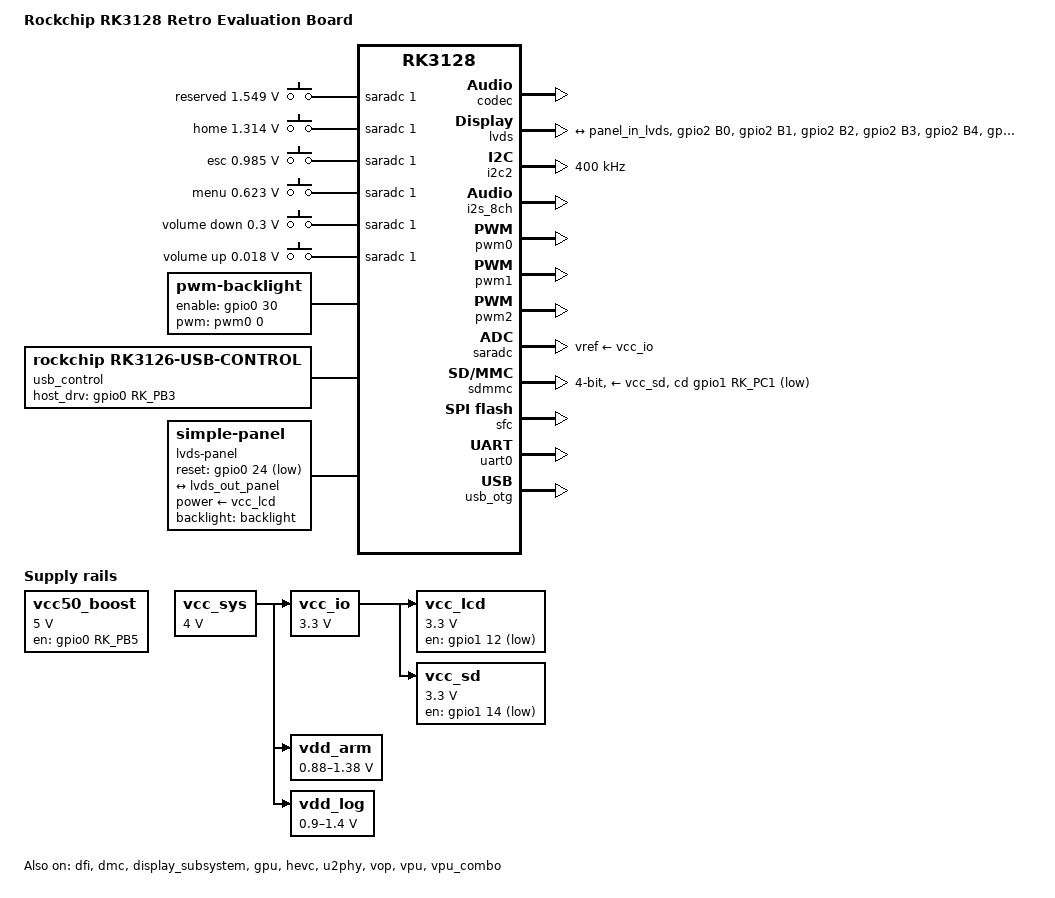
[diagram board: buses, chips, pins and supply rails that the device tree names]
// SPDX-License-Identifier: (GPL-2.0+ OR MIT)
/dts-v1/;

#include "rk3128.dtsi"
#include <dt-bindings/input/input.h>

/ {
	model = "Rockchip RK3128 Retro Evaluation Board";
	compatible = "rockchip,rk3128-retro", "rockchip,rk3128";

	chosen {
		bootargs = "earlycon=uart8250,mmio32,0x20064000 console=ttyFIQ0 loglevel=7 root=PARTUUID=614e0000-0000-4b53-8000-1d28000054a9 rw rootwait";
	};

	adc-keys {
		compatible = "adc-keys";
		io-channels = <&saradc 1>;
		io-channel-names = "buttons";
		poll-interval = <100>;
		keyup-threshold-microvolt = <1800000>;

		reserved-key {
			linux,code = <KEY_RESERVED>;
			label = "reserved";
			press-threshold-microvolt = <1549000>;
		};

		home-key {
			linux,code = <KEY_HOME>;
			label = "home";
			press-threshold-microvolt = <1314000>;
		};

		esc-key {
			linux,code = <KEY_ESC>;
			label = "esc";
			press-threshold-microvolt = <985000>;
		};

		menu-key {
			linux,code = <KEY_MENU>;
			label = "menu";
			press-threshold-microvolt = <623000>;
		};

		vol-down-key {
			linux,code = <KEY_VOLUMEDOWN>;
			label = "volume down";
			press-threshold-microvolt = <300000>;
		};

		vol-up-key {
			linux,code = <KEY_VOLUMEUP>;
			label = "volume up";
			press-threshold-microvolt = <18000>;
		};
	};

	backlight: backlight {
		compatible = "pwm-backlight";

		brightness-levels = <0 1 2 3 4 5 6 7 8 9 10 11 12 13 14 15 16
		17 18 19 20 21 22 23 24 25 26 27 28 29 30 31 32 33 34 35 36 37
		38 39 40 41 42 43 44 45 46 47 48 49 50 51 52 53 54 55 56 57 58
		59 60 61 62 63 64 65 66 67 68 69 70 71 72 73 74 75 76 77 78 79
		80 81 82 83 84 85 86 87 88 89 90 91 92 93 94 95 96 97 98 99 100
		101 102 103 104 105 106 107 108 109 110 111 112 113 114 115 116
		117 118 119 120 121 122 123 124 125 126 127 128 129 130 131 132
		133 134 135 136 137 138 139 140 141 142 143 144 145 146 147 148
		149 150 151 152 153 154 155 156 157 158 159 160 161 162 163 164
		165 166 167 168 169 170 171 172 173 174 175 176 177 178 179 180
		181 182 183 184 185 186 187 188 189 190 191 192 193 194 195 196
		197 198 199 200 201 202 203 204 205 206 207 208 209 210 211 212
		213 214 215 216 217 218 219 220 221 222 223 224 225 226 227 228
		229 230 231 232 233 234 235 236 237 238 239 240 241 242 243 244
		245 246 247 248 249 250 251 252 253 254 255>;

		default-brightness-level = <128>;
		pwms = <&pwm0 0 25000 0>;
		pinctrl-names = "default";
		pinctrl-0 = <&bl_en>;
		enable-gpios = <&gpio0 30 GPIO_ACTIVE_HIGH>;

		status = "okay";
	};

	fiq-debugger {
		compatible = "rockchip,fiq-debugger";

		pinctrl-names = "default";
		pinctrl-0 = <&uart1_xfer>;

		rockchip,serial-id = <1>;
		rockchip,wake-irq = <0>;
		/* If enable uart uses irq instead of fiq */
		rockchip,irq-mode-enable = <0>;
		rockchip,baudrate = <115200>;  /* Only 115200 and 1500000 */
		/* Choose a reserved/no-in-use irq */
		interrupts = <GIC_SPI 127 IRQ_TYPE_LEVEL_LOW>;
		status = "okay";
	};

	sound-rk312x {
		compatible = "simple-audio-card";
		status = "okay";

		simple-audio-card,format = "i2s";
		simple-audio-card,mclk-fs = <256>;
		simple-audio-card,name = "rockchip,rk312x-codec";
		simple-audio-card,cpu {
			sound-dai = <&i2s_8ch>;
		};
		simple-audio-card,codec {
			sound-dai = <&codec>;
		};
	};

	usb_control {
		compatible = "rockchip,rk3126-usb-control";

		host_drv_gpio = <&gpio0 RK_PB3 GPIO_ACTIVE_HIGH>;
		rockchip,remote_wakeup;
		rockchip,usb_irq_wakeup;
	};

	vcc50_boost: vcc50-boost {
		compatible = "regulator-fixed";
		gpio = <&gpio0 RK_PB5 GPIO_ACTIVE_HIGH>;
		regulator-name = "vcc50_boost";
		enable-active-high;
		regulator-min-microvolt = <5000000>;
		regulator-max-microvolt = <5000000>;
		regulator-always-on;
		regulator-boot-on;
	};

	vcc_lcd: vcc-lcd {
		compatible = "regulator-fixed";
		pinctrl-names = "default";
		pinctrl-0 = <&lcd_en>;

		gpio = <&gpio1 12 GPIO_ACTIVE_LOW>;

		regulator-name = "vcc_lcd";
		regulator-min-microvolt = <3300000>;
		regulator-max-microvolt = <3300000>;
		vin-supply = <&vcc_io>;
	};

	vcc_io: vcc-io {
		compatible = "regulator-fixed";
		pinctrl-names = "default";

		regulator-name = "vcc_io";
		regulator-min-microvolt = <3300000>;
		regulator-max-microvolt = <3300000>;
		regulator-boot-on;
		regulator-always-on;
		vin-supply = <&vcc_sys>;
	};

	vcc_sys: vcc-sys {
		compatible = "regulator-fixed";
		regulator-name = "vcc_sys";
		regulator-min-microvolt = <4000000>;
		regulator-max-microvolt = <4000000>;
		regulator-boot-on;
		regulator-always-on;
	};

	vcc_sd: vcc-sd {
		compatible = "regulator-fixed";
		gpio = <&gpio1 14 GPIO_ACTIVE_LOW>;
		pinctrl-names = "default";
		pinctrl-0 = <&sdmmc_pwr>;
		regulator-name = "vcc_sd";
		regulator-min-microvolt = <3300000>;
		regulator-max-microvolt = <3300000>;
		vin-supply = <&vcc_io>;
	};

	vdd_arm: vdd-arm {
		compatible = "pwm-regulator";
		pwms = <&pwm1 0 5000 0>;
		regulator-name = "vdd_arm";
		/* TODO: From schematic, volt is [0.9, 1.4], but with those
		 * Vmin Vmax, we get ~15mv lower than expected.
		 * Hack the Vmin Vmax so we get a slight higher volt.
		 */
		regulator-min-microvolt = <880000>;
		regulator-max-microvolt = <1380000>;
		regulator-init-microvolt = <1100000>;
		regulator-early-min-microvolt = <1100000>;
		regulator-always-on;
		regulator-boot-on;

		pwm-supply = <&vcc_sys>;
		pwm-dutycycle-range = <100 0>;
		pwm-dutycycle-unit = <100>;
	};

	vdd_log: vdd-log {
		compatible = "pwm-regulator";
		pwms = <&pwm2 0 5000 0>;
		regulator-name = "vdd_log";
		regulator-min-microvolt = <900000>;
		regulator-max-microvolt = <1400000>;
		regulator-init-microvolt = <1100000>;
		regulator-early-min-microvolt = <1100000>;
		regulator-always-on;
		regulator-boot-on;

		pwm-supply = <&vcc_sys>;
		pwm-dutycycle-range = <100 0>;
		pwm-dutycycle-unit = <100>;
	};


	lvds-panel {
		compatible = "simple-panel";
		pinctrl-names = "default";
		pinctrl-0 = <&lcd_reset>;

		bus-format = <MEDIA_BUS_FMT_RGB666_1X18>;
		power-supply = <&vcc_lcd>;
		backlight = <&backlight>;
		width-mm = <154>;
		height-mm = <86>;

		reset-gpios = <&gpio0 24 GPIO_ACTIVE_LOW>;
		reset-delay-ms = <60>;
		enable-delay-ms = <100>;
		prepare-delay-ms = <100>;

		rockchip,data-width = <18>;
		rockchip,data-mapping = "jeida";
		rockchip,output = "rgb";
		status = "okay";

		display-timings {
			native-mode = <&timing0>;
			timing0: timing0 {
				clock-frequency = <51200000>;
				hactive = <1024>;
				hback-porch = <160>;
				hfront-porch = <160>;
				hsync-len = <10>;
				vactive = <600>;
				vback-porch = <23>;
				vfront-porch = <12>;
				vsync-len = <10>;
				hsync-active = <0>;
				vsync-active = <0>;
				de-active = <0>;
				pixelclk-active = <0>;
			};
		};

		port {
			panel_in_lvds: endpoint {
				remote-endpoint = <&lvds_out_panel>;
			};
		};
	};
};

&codec {
	#sound-dai-cells = <0>;
	hp-ctl-gpios = <&gpio3 20 GPIO_ACTIVE_HIGH>;
	spk-ctl-gpios = <&gpio0 30 GPIO_ACTIVE_HIGH>;
	spk-mute-delay = <200>;
	hp-mute-delay = <100>;
	spk_volume = <25>;
	hp_volume = <25>;
	capture_volume = <26>;
	gpio_debug = <1>;
	codec_hp_det = <1>;
	status = "okay";
};

&cpu0 {
	cpu-supply = <&vdd_arm>;
};

&dfi {
	status = "okay";
};

&dmc {
	center-supply = <&vdd_log>;
	status = "okay";
};

&display_subsystem {
	status = "okay";
};

&lvds {
	status = "okay";
	pinctrl-names = "default";
	pinctrl-0 = <&lcdc_lcdc>;

	ports {
		port@1 {
			reg = <1>;

			lvds_out_panel: endpoint {
				remote-endpoint = <&panel_in_lvds>;
			};
		};
	};
};

&gpu {
	status = "okay";
	mali-supply = <&vdd_log>;
};

&hevc {
	status = "okay";
};

&hevc_mmu {
	status = "okay";
};

&i2c2 {
	status = "okay";
	clock-frequency = <400000>;

	/* Touch panel */
};

&i2s_8ch {
	#sound-dai-cells = <0>;
	status = "okay";
};

&pwm0 {
	status = "okay";
};

&pwm1 {
	status = "okay";
};

&pwm2 {
	status = "okay";
};

&saradc {
	status = "okay";
	vref-supply = <&vcc_io>;
};

&sdmmc {
	bus-width = <4>;
	clock-frequency = <37500000>;
	clock-freq-min-max = <400000 37500000>;
	supports-highspeed;
	supports-sd;
	broken-cd;
	card-detect-delay = <200>;
	ignore-pm-notify;
	keep-power-in-suspend;
	vmmc-supply = <&vcc_sd>;
	cd-gpios = <&gpio1 RK_PC1 GPIO_ACTIVE_LOW>;
	status = "okay";
};

&sfc {
	status = "okay";
};

&u2phy {
	status = "okay";

	u2phy_otg: otg-port {
		status = "okay";
	};

	u2phy_host: host-port {
		status = "okay";
	};
};

&uart0 {
	status = "okay";
};

&uart1 {
	/* disable uart1 explicitly since fiq-debugger is on uart1 */
	status = "disabled";
};

&usb_otg {
	status = "okay";
};

&vop {
	status = "okay";
};

&vop_mmu {
	status = "okay";
};

&vpu {
	status = "okay";
};

&vpu_combo {
	status = "okay";
};

&vpu_mmu {
	status = "okay";
};

&pinctrl {
	backlight {
		bl_en: bl-en {
			rockchip,pins = <0 30 RK_FUNC_GPIO &pcfg_pull_default>;
		};
	};

	lcdc {
		lcd_en: lcd-en {
			rockchip,pins = <1 12 RK_FUNC_GPIO &pcfg_pull_default>;
		};

		lcd_reset: lcd-reset {
			rockchip,pins = <0 24 RK_FUNC_GPIO &pcfg_pull_none>;
		};

		lcdc_lcdc: lcdc-lcdc {
			rockchip,pins =
				/* depend on the hardware */
				<2 RK_PB0 1 &pcfg_pull_none>, /* DCLK */
				<2 RK_PB1 1 &pcfg_pull_none>, /* HSYNC */
				<2 RK_PB2 1 &pcfg_pull_none>, /* VSYNC */
				<2 RK_PB3 1 &pcfg_pull_none>, /* DEN */
				<2 RK_PB4 1 &pcfg_pull_none>, /* DATA10 */
				<2 RK_PB5 1 &pcfg_pull_none>, /* DATA11 */
				<2 RK_PB6 1 &pcfg_pull_none>, /* DATA12 */
				<2 RK_PB7 1 &pcfg_pull_none>, /* DATA13 */
				<2 RK_PC0 1 &pcfg_pull_none>, /* DATA14 */
				<2 RK_PC1 1 &pcfg_pull_none>, /* DATA15 */
				<2 RK_PC2 1 &pcfg_pull_none>, /* DATA16 */
				<2 RK_PC3 1 &pcfg_pull_none>; /* DATA17 */
				/* <2 RK_PC4 1 &pcfg_pull_none>, /* DATA18 */
				/* <2 RK_PC5 1 &pcfg_pull_none>, /* DATA19 */
				/* <2 RK_PC6 1 &pcfg_pull_none>, /* DATA20 */
				/* <2 RK_PC7 1 &pcfg_pull_none>, /* DATA21 */
				/* <2 RK_PD0 1 &pcfg_pull_none>, /* DATA22 */
				/* <2 RK_PD1 1 &pcfg_pull_none>; /* DATA23 */
		};
	};

	sdmmc {
		sdmmc_pwr: sdmmc-pwr {
			rockchip,pins = <1 14 RK_FUNC_GPIO &pcfg_pull_default>;
		};
	};
};
